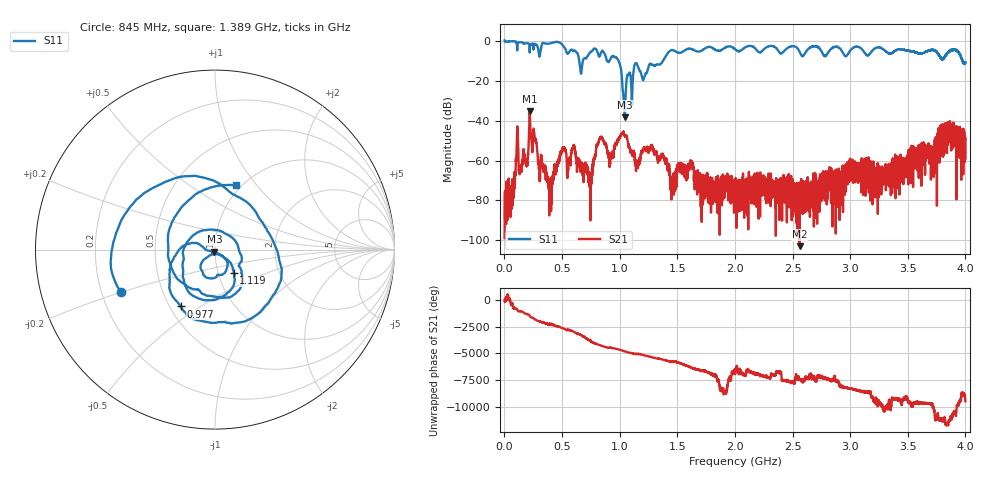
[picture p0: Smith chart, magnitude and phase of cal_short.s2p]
!Created with skrf (http://scikit-rf.org).
# GHz S RI R 50.0
!freq ReS11 ImS11 ReS21 ImS21 ReS12 ImS12 ReS22 ImS22
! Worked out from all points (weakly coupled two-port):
!   4000 points, 1 MHz to 4 GHz, reference 50 ohm
!   highest |S21| = -34.93 dB at 219 MHz (marker M1); lowest = -103.1 dB at 2.562 GHz (marker M2)
!   lowest |S11| = -38.2 dB at 1.044 GHz (marker M3), VSWR 1.02, Z = 49.7 - j1.17 ohm
!   |S11| at or under -10 dB: 649 MHz to 679.2 MHz (30.25 MHz wide, 4.55 % of centre); 991.3 MHz to 1.374 GHz (382.6 MHz wide, 32.3 % of centre); 3.977 GHz to end of sweep (the widest 3 of 5)
!   S12 and S22 are empty: the file has one direction only
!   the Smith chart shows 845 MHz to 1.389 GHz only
!   S11 on the Smith chart (normalised r, x): 845 MHz: 0.28, -0.20; 977 MHz: 0.57, -0.42; 1.119 GHz: 1.19, -0.32; 1.389 GHz: 0.94, +0.79
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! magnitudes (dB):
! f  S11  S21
! 1 MHz  0.5  -99.1
! 219 MHz  -5.5  -34.9
! 391 MHz  -1.0  -73.8
! 506 MHz  -2.0  -53.2
! 668 MHz  -15.1  -62.1
! 745 MHz  -5.4  -90.2
! 845 MHz  -4.8  -48.2
! 924 MHz  -8.1  -57.3
! 977 MHz  -8.6  -51.2
! 1.044 GHz  -38.2  -47.3
! 1.119 GHz  -15.5  -56.3
! 1.334 GHz  -11.6  -59.2
! 1.389 GHz  -8.5  -60.0
! 1.459 GHz  -4.3  -69.8
! 1.616 GHz  -3.7  -62.2
! 1.723 GHz  -4.2  -67.1
! 2.001 GHz  -3.9  -71.0
! 2.562 GHz  -5.3  -103.1
! 2.667 GHz  -2.6  -77.0
! 3.334 GHz  -6.1  -61.7
! 3.855 GHz  -4.9  -45.5
! 4 GHz  -10.4  -48.5
